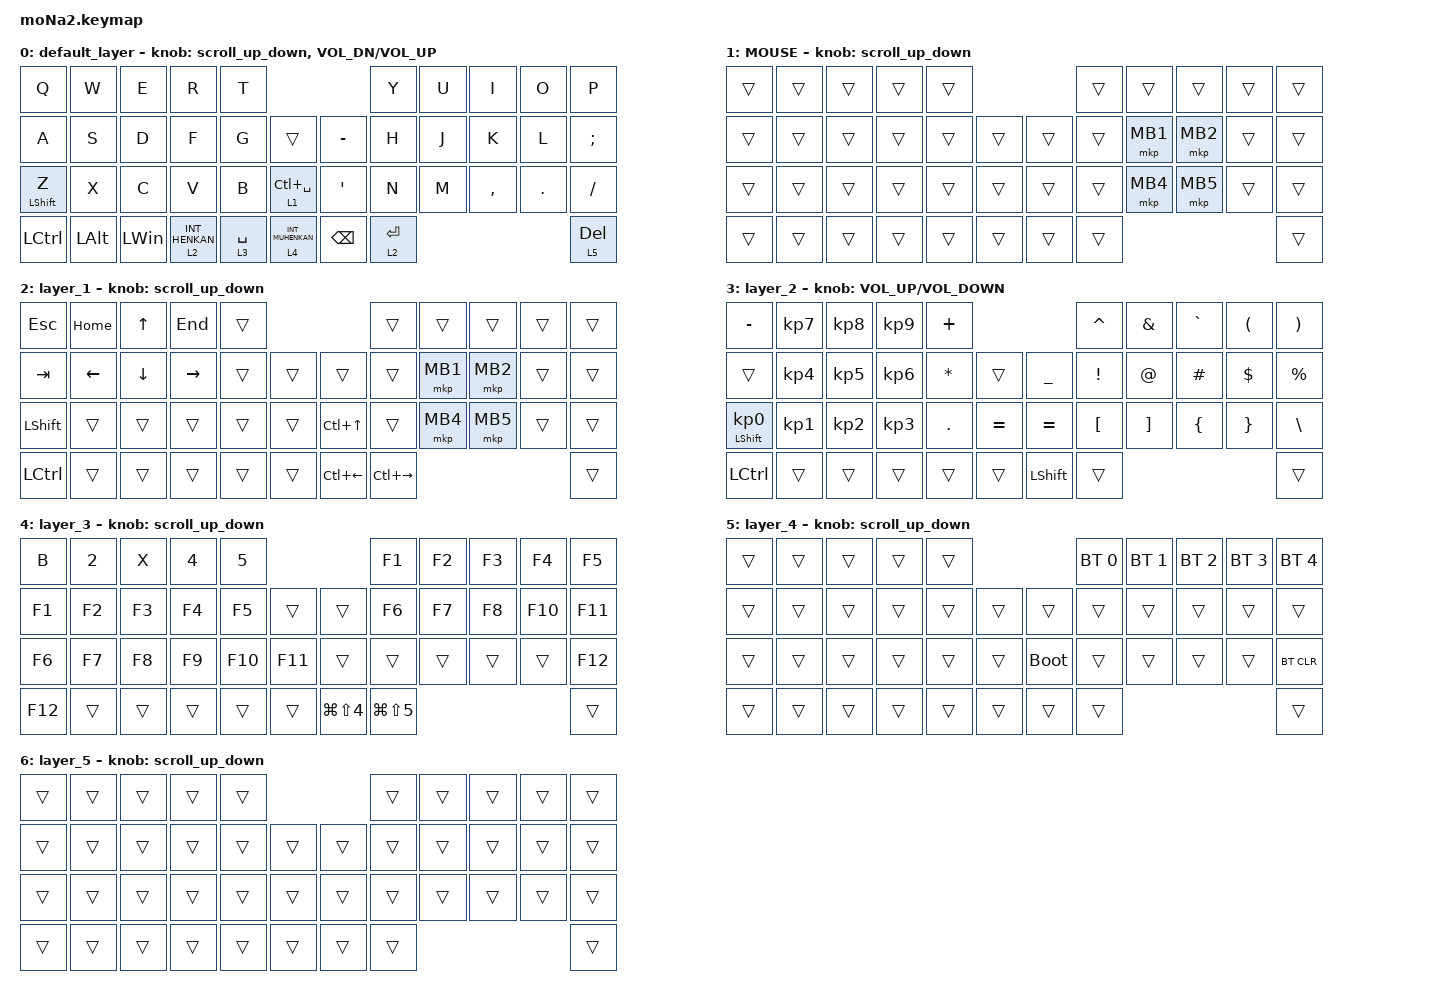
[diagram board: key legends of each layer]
#include <behaviors.dtsi>
#include <dt-bindings/zmk/bt.h>
#include <dt-bindings/zmk/keys.h>
#include <dt-bindings/zmk/pointing.h>

#define ZMK_POINTING_DEFAULT_SCRL_VAL 100
#define MOUSE 6

&mt {
    flavor = "balanced";
    quick-tap-ms = <0>;
};

/ {
    combos { compatible = "zmk,combos"; };

    macros {
        to_layer_0: to_layer_0 {
            compatible = "zmk,behavior-macro-one-param";
            #binding-cells = <1>;
            bindings = <&to 0 &macro_param_1to1 &kp MACRO_PLACEHOLDER>;
            label = "TO_LAYER_0";
        };
    };

    behaviors {
        lt_to_layer_0: lt_to_layer_0 {
            compatible = "zmk,behavior-hold-tap";
            label = "LAYER_TAP_TO_0";
            bindings = <&mo>, <&to_layer_0>;

            #binding-cells = <2>;
            tapping-term-ms = <200>;
        };

        scroll_up_down: behavior_sensor_rotate_mouse_wheel_up_down {
            compatible = "zmk,behavior-sensor-rotate";
            #sensor-binding-cells = <0>;
            bindings = <&msc SCRL_UP>, <&msc SCRL_DOWN>;

            tap-ms = <20>;
        };
    };

    keymap {
        compatible = "zmk,keymap";

        default_layer {
            bindings = <
&kp Q             &kp W         &kp E         &kp R             &kp T                                                &kp Y        &kp U  &kp I      &kp O    &kp P
&kp A             &kp S         &kp D         &kp F             &kp G        &trans                &kp MINUS         &kp H        &kp J  &kp K      &kp L    &kp SEMICOLON
&mt LEFT_SHIFT Z  &kp X         &kp C         &kp V             &kp B        &lt 1 LC(SPACE)       &kp SINGLE_QUOTE  &kp N        &kp M  &kp COMMA  &kp DOT  &kp SLASH
&kp LCTRL         &kp LEFT_ALT  &kp LEFT_WIN  &lt 2 INT_HENKAN  &lt 3 SPACE  &lt 4 INT_MUHENKAN    &kp BACKSPACE     &lt 2 ENTER                             &lt 5 DELETE
            >;

            sensor-bindings =
                <&scroll_up_down>,
                <&inc_dec_kp C_VOL_DN C_VOL_UP>;
        };

        MOUSE {
            bindings = <
&trans  &trans  &trans  &trans  &trans                    &trans  &trans    &trans    &trans  &trans
&trans  &trans  &trans  &trans  &trans  &trans    &trans  &trans  &mkp MB1  &mkp MB2  &trans  &trans
&trans  &trans  &trans  &trans  &trans  &trans    &trans  &trans  &mkp MB4  &mkp MB5  &trans  &trans
&trans  &trans  &trans  &trans  &trans  &trans    &trans  &trans                              &trans
            >;

            sensor-bindings = <&scroll_up_down>;
        };

        layer_1 {
            bindings = <
&kp ESCAPE        &kp HOME  &kp UP    &kp END    &trans                                &trans               &trans    &trans    &trans  &trans
&kp TAB           &kp LEFT  &kp DOWN  &kp RIGHT  &trans  &trans    &trans              &trans               &mkp MB1  &mkp MB2  &trans  &trans
&kp LEFT_SHIFT    &trans    &trans    &trans     &trans  &trans    &kp LC(UP_ARROW)    &trans               &mkp MB4  &mkp MB5  &trans  &trans
&kp LEFT_CONTROL  &trans    &trans    &trans     &trans  &trans    &kp LC(LEFT_ARROW)  &kp LC(RIGHT_ARROW)                              &trans
            >;

            sensor-bindings = <&scroll_up_down>;
        };

        layer_2 {
            bindings = <
&kp MINUS                   &kp KP_NUMBER_7  &kp KP_NUMBER_8  &kp KP_NUMBER_9  &kp PLUS                                   &kp CARET         &kp AMPERSAND      &kp GRAVE       &kp LEFT_PARENTHESIS  &kp RIGHT_PARENTHESIS
&trans                      &kp KP_NUMBER_4  &kp KP_NUMBER_5  &kp KP_NUMBER_6  &kp ASTERISK  &trans       &kp UNDERSCORE  &kp EXCLAMATION   &kp AT_SIGN        &kp HASH        &kp DOLLAR            &kp PERCENT
&mt LEFT_SHIFT KP_NUMBER_0  &kp KP_NUMBER_1  &kp KP_NUMBER_2  &kp KP_NUMBER_3  &kp PERIOD    &kp EQUAL    &kp EQUAL       &kp LEFT_BRACKET  &kp RIGHT_BRACKET  &kp LEFT_BRACE  &kp RIGHT_BRACE       &kp BACKSLASH
&kp LEFT_CONTROL            &trans           &trans           &trans           &trans        &trans       &kp LEFT_SHIFT  &trans                                                                     &trans
            >;

            sensor-bindings = <&inc_dec_kp C_VOLUME_UP C_VOLUME_DOWN>;
        };

        layer_3 {
            bindings = <
&kp B    &kp NUMBER_2  &kp X   &kp NUMBER_4  &kp NUMBER_5                                   &kp F1          &kp F2  &kp F3  &kp F4   &kp F5
&kp F1   &kp F2        &kp F3  &kp F4        &kp F5        &trans     &trans                &kp F6          &kp F7  &kp F8  &kp F10  &kp F11
&kp F6   &kp F7        &kp F8  &kp F9        &kp F10       &kp F11    &trans                &trans          &trans  &trans  &trans   &kp F12
&kp F12  &trans        &trans  &trans        &trans        &trans     &kp LG(LS(NUMBER_4))  &kp LG(LS(N5))                           &trans
            >;

            sensor-bindings = <&scroll_up_down>;
        };

        layer_4 {
            bindings = <
&trans  &trans  &trans  &trans  &trans                         &bt BT_SEL 0  &bt BT_SEL 1  &bt BT_SEL 2  &bt BT_SEL 3  &bt BT_SEL 4
&trans  &trans  &trans  &trans  &trans  &trans    &trans       &trans        &trans        &trans        &trans        &trans
&trans  &trans  &trans  &trans  &trans  &trans    &bootloader  &trans        &trans        &trans        &trans        &bt BT_CLR
&trans  &trans  &trans  &trans  &trans  &trans    &trans       &trans                                                  &trans
            >;

            sensor-bindings = <&scroll_up_down>;
        };

        layer_5 {
            bindings = <
&trans  &trans  &trans  &trans  &trans                    &trans  &trans  &trans  &trans  &trans
&trans  &trans  &trans  &trans  &trans  &trans    &trans  &trans  &trans  &trans  &trans  &trans
&trans  &trans  &trans  &trans  &trans  &trans    &trans  &trans  &trans  &trans  &trans  &trans
&trans  &trans  &trans  &trans  &trans  &trans    &trans  &trans                          &trans
            >;

            sensor-bindings = <&scroll_up_down>;
        };
    };
};
